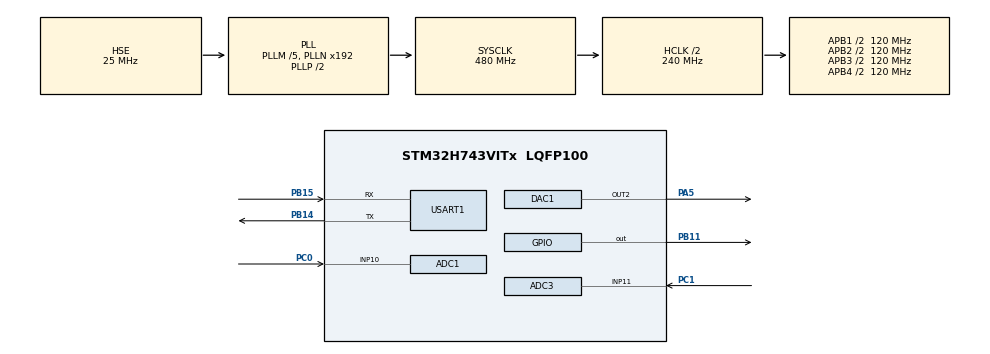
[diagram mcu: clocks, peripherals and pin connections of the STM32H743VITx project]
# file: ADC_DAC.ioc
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ADC1.Channel-1\#ChannelRegularConversion=ADC_CHANNEL_10
ADC1.ClockPrescaler=ADC_CLOCK_ASYNC_DIV1
ADC1.ConversionDataManagement=ADC_CONVERSIONDATA_DMA_CIRCULAR
ADC1.ExternalTrigConv=ADC_EXTERNALTRIG_T15_TRGO
ADC1.NbrOfConversion=1
ADC1.NbrOfConversionFlag=1
ADC1.OffsetNumber-1\#ChannelRegularConversion=ADC_OFFSET_NONE
ADC1.OffsetSignedSaturation-1\#ChannelRegularConversion=DISABLE
ADC1.Rank-1\#ChannelRegularConversion=1
ADC1.SamplingTime-1\#ChannelRegularConversion=ADC_SAMPLETIME_1CYCLE_5
ADC1.master=1
ADC3.Channel-0\#ChannelRegularConversion=ADC_CHANNEL_11
ADC3.ConversionDataManagement=ADC_CONVERSIONDATA_DMA_CIRCULAR
ADC3.ExternalTrigConv=ADC_EXTERNALTRIG_T1_TRGO
ADC3.NbrOfConversionFlag=1
ADC3.OffsetNumber-0\#ChannelRegularConversion=ADC_OFFSET_NONE
ADC3.OffsetSignedSaturation-0\#ChannelRegularConversion=DISABLE
ADC3.Rank-0\#ChannelRegularConversion=1
ADC3.SamplingTime-0\#ChannelRegularConversion=ADC_SAMPLETIME_1CYCLE_5
CORTEX_M7.AccessPermission-Cortex_Memory_Protection_Unit_Region0_Settings=MPU_REGION_FULL_ACCESS
CORTEX_M7.AccessPermission-Cortex_Memory_Protection_Unit_Region1_Settings=MPU_REGION_FULL_ACCESS
CORTEX_M7.AccessPermission-Cortex_Memory_Protection_Unit_Region2_Settings=MPU_REGION_FULL_ACCESS
CORTEX_M7.AccessPermission-Cortex_Memory_Protection_Unit_Region3_Settings=MPU_REGION_FULL_ACCESS
CORTEX_M7.AccessPermission-Cortex_Memory_Protection_Unit_Region4_Settings=MPU_REGION_FULL_ACCESS
CORTEX_M7.AccessPermission_S-Cortex_Memory_Protection_Unit_Region1_Settings_S=MPU_REGION_FULL_ACCESS
CORTEX_M7.AccessPermission_S-Cortex_Memory_Protection_Unit_Region2_Settings_S=MPU_REGION_FULL_ACCESS
CORTEX_M7.AccessPermission_Spec=MPU_REGION_FULL_ACCESS
CORTEX_M7.BaseAddress-Cortex_Memory_Protection_Unit_Region0_Settings=0x24000000
CORTEX_M7.BaseAddress-Cortex_Memory_Protection_Unit_Region1_Settings=0x30000000
CORTEX_M7.BaseAddress-Cortex_Memory_Protection_Unit_Region2_Settings=0x30020000
CORTEX_M7.BaseAddress-Cortex_Memory_Protection_Unit_Region3_Settings=0x30040000
CORTEX_M7.BaseAddress-Cortex_Memory_Protection_Unit_Region4_Settings=0x38000000
CORTEX_M7.BaseAddress_S-Cortex_Memory_Protection_Unit_Region1_Settings_S=0x30000000
CORTEX_M7.BaseAddress_S-Cortex_Memory_Protection_Unit_Region2_Settings_S=0x30020000
CORTEX_M7.BaseAddress_Spec=0x24000000
CORTEX_M7.CPU_DCache=Enabled
CORTEX_M7.CPU_ICache=Enabled
CORTEX_M7.DisableExec_S-Cortex_Memory_Protection_Unit_Region1_Settings_S=MPU_INSTRUCTION_ACCESS_ENABLE
CORTEX_M7.DisableExec_S-Cortex_Memory_Protection_Unit_Region2_Settings_S=MPU_INSTRUCTION_ACCESS_ENABLE
CORTEX_M7.DisableExec_Spec=MPU_INSTRUCTION_ACCESS_ENABLE
CORTEX_M7.Enable-Cortex_Memory_Protection_Unit_Region0_Settings=MPU_REGION_ENABLE
CORTEX_M7.Enable-Cortex_Memory_Protection_Unit_Region1_Settings=MPU_REGION_ENABLE
CORTEX_M7.Enable-Cortex_Memory_Protection_Unit_Region2_Settings=MPU_REGION_ENABLE
CORTEX_M7.Enable-Cortex_Memory_Protection_Unit_Region3_Settings=MPU_REGION_ENABLE
CORTEX_M7.Enable-Cortex_Memory_Protection_Unit_Region4_Settings=MPU_REGION_ENABLE
CORTEX_M7.Enable_S-Cortex_Memory_Protection_Unit_Region1_Settings_S=MPU_REGION_ENABLE
CORTEX_M7.Enable_S-Cortex_Memory_Protection_Unit_Region2_Settings_S=MPU_REGION_ENABLE
CORTEX_M7.IsBufferable-Cortex_Memory_Protection_Unit_Region0_Settings=MPU_ACCESS_BUFFERABLE
CORTEX_M7.IsBufferable_S-Cortex_Memory_Protection_Unit_Region1_Settings_S=MPU_ACCESS_NOT_BUFFERABLE
CORTEX_M7.IsBufferable_Spec=MPU_ACCESS_BUFFERABLE
CORTEX_M7.IsCacheable-Cortex_Memory_Protection_Unit_Region0_Settings=MPU_ACCESS_CACHEABLE
CORTEX_M7.IsCacheable_S-Cortex_Memory_Protection_Unit_Region1_Settings_S=MPU_ACCESS_NOT_CACHEABLE
CORTEX_M7.IsCacheable_Spec=MPU_ACCESS_CACHEABLE
CORTEX_M7.IsShareable_Spec=MPU_ACCESS_NOT_SHAREABLE
CORTEX_M7.MPU_Control=MPU_PRIVILEGED_DEFAULT
CORTEX_M7.Size-Cortex_Memory_Protection_Unit_Region0_Settings=MPU_REGION_SIZE_512KB
CORTEX_M7.Size-Cortex_Memory_Protection_Unit_Region1_Settings=MPU_REGION_SIZE_128KB
CORTEX_M7.Size-Cortex_Memory_Protection_Unit_Region2_Settings=MPU_REGION_SIZE_128KB
CORTEX_M7.Size-Cortex_Memory_Protection_Unit_Region3_Settings=MPU_REGION_SIZE_32KB
CORTEX_M7.Size-Cortex_Memory_Protection_Unit_Region4_Settings=MPU_REGION_SIZE_64KB
CORTEX_M7.Size_S-Cortex_Memory_Protection_Unit_Region1_Settings_S=MPU_REGION_SIZE_128KB
CORTEX_M7.Size_S-Cortex_Memory_Protection_Unit_Region2_Settings_S=MPU_REGION_SIZE_128KB
CORTEX_M7.Size_Spec=MPU_REGION_SIZE_512KB
CORTEX_M7.SubRegionDisable_Spec=0x0
CORTEX_M7.TypeExtField-Cortex_Memory_Protection_Unit_Region0_Settings=MPU_TEX_LEVEL1
CORTEX_M7.TypeExtField-Cortex_Memory_Protection_Unit_Region1_Settings=MPU_TEX_LEVEL1
CORTEX_M7.TypeExtField-Cortex_Memory_Protection_Unit_Region2_Settings=MPU_TEX_LEVEL1
CORTEX_M7.TypeExtField-Cortex_Memory_Protection_Unit_Region3_Settings=MPU_TEX_LEVEL1
CORTEX_M7.TypeExtField-Cortex_Memory_Protection_Unit_Region4_Settings=MPU_TEX_LEVEL1
CORTEX_M7.TypeExtField_S-Cortex_Memory_Protection_Unit_Region1_Settings_S=MPU_TEX_LEVEL1
CORTEX_M7.TypeExtField_S-Cortex_Memory_Protection_Unit_Region2_Settings_S=MPU_TEX_LEVEL1
CORTEX_M7.TypeExtField_Spec=MPU_TEX_LEVEL1
DAC1.DAC2_OutputBuffer-DAC_OUT2=DAC_OUTPUTBUFFER_DISABLE
DAC1.DAC_Channel-DAC_OUT2=DAC_CHANNEL_2
DAC1.DAC_Trigger-DAC_OUT2=DAC_TRIGGER_T6_TRGO
Dma.ADC1.0.Direction=DMA_PERIPH_TO_MEMORY
Dma.ADC1.0.EventEnable=DISABLE
Dma.ADC1.0.FIFOMode=DMA_FIFOMODE_DISABLE
Dma.ADC1.0.Instance=DMA1_Stream1
Dma.ADC1.0.MemDataAlignment=DMA_MDATAALIGN_HALFWORD
Dma.ADC1.0.MemInc=DMA_MINC_ENABLE
Dma.ADC1.0.Mode=DMA_NORMAL
Dma.ADC1.0.PeriphDataAlignment=DMA_PDATAALIGN_HALFWORD
Dma.ADC1.0.PeriphInc=DMA_PINC_DISABLE
Dma.ADC1.0.Polarity=HAL_DMAMUX_REQ_GEN_RISING
Dma.ADC1.0.Priority=DMA_PRIORITY_HIGH
Dma.ADC1.0.RequestNumber=1
Dma.ADC1.0.SignalID=NONE
Dma.ADC1.0.SyncEnable=DISABLE
Dma.ADC1.0.SyncPolarity=HAL_DMAMUX_SYNC_NO_EVENT
Dma.ADC1.0.SyncRequestNumber=1
Dma.ADC1.0.SyncSignalID=NONE
Dma.ADC3.1.Direction=DMA_PERIPH_TO_MEMORY
Dma.ADC3.1.EventEnable=DISABLE
Dma.ADC3.1.FIFOMode=DMA_FIFOMODE_DISABLE
Dma.ADC3.1.Instance=DMA2_Stream1
Dma.ADC3.1.MemDataAlignment=DMA_MDATAALIGN_HALFWORD
Dma.ADC3.1.MemInc=DMA_MINC_ENABLE
Dma.ADC3.1.Mode=DMA_NORMAL
Dma.ADC3.1.PeriphDataAlignment=DMA_PDATAALIGN_HALFWORD
Dma.ADC3.1.PeriphInc=DMA_PINC_DISABLE
Dma.ADC3.1.Polarity=HAL_DMAMUX_REQ_GEN_RISING
Dma.ADC3.1.Priority=DMA_PRIORITY_HIGH
Dma.ADC3.1.RequestNumber=1
Dma.ADC3.1.SignalID=NONE
Dma.ADC3.1.SyncEnable=DISABLE
Dma.ADC3.1.SyncPolarity=HAL_DMAMUX_SYNC_NO_EVENT
Dma.ADC3.1.SyncRequestNumber=1
Dma.ADC3.1.SyncSignalID=NONE
Dma.DAC1_CH2.2.Direction=DMA_MEMORY_TO_PERIPH
Dma.DAC1_CH2.2.EventEnable=DISABLE
Dma.DAC1_CH2.2.FIFOMode=DMA_FIFOMODE_DISABLE
Dma.DAC1_CH2.2.Instance=DMA2_Stream3
Dma.DAC1_CH2.2.MemDataAlignment=DMA_MDATAALIGN_HALFWORD
Dma.DAC1_CH2.2.MemInc=DMA_MINC_ENABLE
Dma.DAC1_CH2.2.Mode=DMA_CIRCULAR
Dma.DAC1_CH2.2.PeriphDataAlignment=DMA_PDATAALIGN_HALFWORD
Dma.DAC1_CH2.2.PeriphInc=DMA_PINC_DISABLE
Dma.DAC1_CH2.2.Polarity=HAL_DMAMUX_REQ_GEN_RISING
Dma.DAC1_CH2.2.Priority=DMA_PRIORITY_VERY_HIGH
Dma.DAC1_CH2.2.RequestNumber=1
Dma.DAC1_CH2.2.SignalID=NONE
Dma.DAC1_CH2.2.SyncEnable=DISABLE
Dma.DAC1_CH2.2.SyncPolarity=HAL_DMAMUX_SYNC_NO_EVENT
Dma.DAC1_CH2.2.SyncRequestNumber=1
Dma.DAC1_CH2.2.SyncSignalID=NONE
Dma.Request0=ADC1
Dma.Request1=ADC3
Dma.Request2=DAC1_CH2
Mcu.Family=STM32H7
Mcu.Name=STM32H743VITx
Mcu.Package=LQFP100
NVIC.DMA1_Stream1_IRQn=true\:0\:0\:false\:false\:true\:false\:true\:true
NVIC.DMA2_Stream1_IRQn=true\:0\:0\:false\:false\:true\:false\:true\:true
NVIC.DMA2_Stream3_IRQn=true\:0\:0\:false\:false\:true\:false\:true\:true
NVIC.PriorityGroup=NVIC_PRIORITYGROUP_4
PA13\ (JTMS/SWDIO).Mode=Serial_Wire
PA13\ (JTMS/SWDIO).Signal=DEBUG_JTMS-SWDIO
PA14\ (JTCK/SWCLK).Mode=Serial_Wire
PA14\ (JTCK/SWCLK).Signal=DEBUG_JTCK-SWCLK
PA5.Signal=COMP_DAC12_group
PB11.GPIO_ModeDefaultOutputPP=GPIO_MODE_OUTPUT_PP
PB11.GPIO_PuPd=GPIO_PULLUP
PB11.GPIO_Speed=GPIO_SPEED_FREQ_LOW
PB11.PinState=GPIO_PIN_SET
PB11.Signal=GPIO_Output
PB14.Mode=Asynchronous
PB14.Signal=USART1_TX
PB15.Mode=Asynchronous
PB15.Signal=USART1_RX
PC0.Signal=ADCx_INP10
PC1.Signal=ADCx_INP11
PH0-OSC_IN\ (PH0).Mode=HSE-External-Oscillator
PH0-OSC_IN\ (PH0).Signal=RCC_OSC_IN
PH1-OSC_OUT\ (PH1).Mode=HSE-External-Oscillator
PH1-OSC_OUT\ (PH1).Signal=RCC_OSC_OUT
ProjectManager.HeapSize=0x200
ProjectManager.StackSize=0x400
ProjectManager.TargetToolchain=MDK-ARM V5.32
RCC.ADCFreq_Value=72000000
RCC.APB1Freq_Value=120000000
RCC.APB2Freq_Value=120000000
RCC.APB3Freq_Value=120000000
RCC.APB4Freq_Value=120000000
RCC.CortexFreq_Value=480000000
RCC.D1PPRE=RCC_APB3_DIV2
RCC.D2PPRE1=RCC_APB1_DIV2
RCC.D2PPRE2=RCC_APB2_DIV2
RCC.D3PPRE=RCC_APB4_DIV2
RCC.DIVM1=5
RCC.DIVM2=25
RCC.DIVN1=192
RCC.DIVN2=360
RCC.DIVP2=5
RCC.HCLKFreq_Value=240000000
RCC.HPRE=RCC_HCLK_DIV2
RCC.HSE_Timout=5000
RCC.PLLSourceVirtual=RCC_PLLSOURCE_HSE
RCC.ProductRev=revV
RCC.SYSCLKFreq_VALUE=480000000
RCC.SYSCLKSource=RCC_SYSCLKSOURCE_PLLCLK
RCC.USBFreq_Value=480000000
SH.ADCx_INP10.0=ADC2_INP10
SH.ADCx_INP10.1=ADC1_INP10,IN10-Single-Ended
SH.ADCx_INP11.0=ADC3_INP11,IN11-Single-Ended
SH.COMP_DAC12_group.0=DAC1_OUT2,DAC_OUT2
TIM1.Period=16-1
TIM1.Prescaler=50-1
TIM1.TIM_MasterOutputTrigger=TIM_TRGO_UPDATE
TIM15.Period=16-1
TIM15.Prescaler=50-1
TIM15.TIM_MasterOutputTrigger=TIM_TRGO_UPDATE
TIM6.AutoReloadPreload=TIM_AUTORELOAD_PRELOAD_ENABLE
TIM6.Period=200-1
TIM6.Prescaler=12-1
TIM6.TIM_MasterOutputTrigger=TIM_TRGO_UPDATE
TIM7.Prescaler=239
USART1.VirtualMode-Asynchronous=VM_ASYNC
VP_TIM15_VS_ClockSourceINT.Mode=Internal
VP_TIM1_VS_ClockSourceINT.Mode=Internal
VP_TIM6_VS_ClockSourceINT.Mode=Enable_Timer
VP_TIM7_VS_ClockSourceINT.Mode=Enable_Timer
board=custom

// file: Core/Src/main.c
/* USER CODE BEGIN Header */
/**
  ******************************************************************************
  * @file           : main.c
  * @brief          : Main program body
  ******************************************************************************
  * @attention
  *
  * Copyright (c) 2022 STMicroelectronics.
  * All rights reserved.
  *
  * This software is licensed under terms that can be found in the LICENSE file
  * in the root directory of this software component.
  * If no LICENSE file comes with this software, it is provided AS-IS.
  *
  ******************************************************************************
  */
/* USER CODE END Header */
#include "main.h"
#include "adc.h"
#include "dac.h"
#include "dma.h"
#include "tim.h"
#include "usart.h"
#include "gpio.h"

/* USER CODE BEGIN Includes */

ALIGN_32BYTES (uint16_t Dat[80]) 	__attribute__((section(".ARM.__at_0x38000000")));

/* USER CODE END Includes */

/* USER CODE BEGIN PTD */
ALIGN_32BYTES (uint16_t adc1_data[FFT_LENGTH])  __attribute__((section(".ARM.__at_0x24000000")));
ALIGN_32BYTES (uint16_t adc3_data[FFT_LENGTH]) 	__attribute__((section(".ARM.__at_0x30000000")));
__IO uint8_t AdcConvEnd = 0;//表示adc采集完成

void adc_init(void)
{
	HAL_ADC_DeInit(&hadc1);
	MX_ADC1_Init();	//初始化调用放这里, 确保在MX_DMA_Init()初始化后面
	HAL_Delay(100);	//有地方说这里可以等等电压稳定后再校准

	if (HAL_ADCEx_Calibration_Start(&hadc1, ADC_CALIB_OFFSET, ADC_SINGLE_ENDED) != HAL_OK)
	{
			printf("hadc1 error with HAL_ADCEx_Calibration_Start\r\n");
			Error_Handler();
	}

	if (HAL_ADC_Start_DMA(&hadc1, (uint32_t *)adc1_data, ADC_BUFFER_SIZE) != HAL_OK)
	{
			printf("hadc1 error with HAL_ADC_Start_DMA\r\n");
			Error_Handler();
	}

	HAL_TIM_Base_Start(&htim15);
	while (!AdcConvEnd);
	AdcConvEnd = 0;
}

void adc3_init(void)
{
	HAL_ADC_DeInit(&hadc3);
	MX_ADC3_Init();	//初始化调用放这里, 确保在MX_DMA_Init()初始化后面
	HAL_Delay(100);	//有地方说这里可以等等电压稳定后再校准

	if (HAL_ADCEx_Calibration_Start(&hadc3, ADC_CALIB_OFFSET, ADC_SINGLE_ENDED) != HAL_OK)
	{
			printf("hadc1 error with HAL_ADCEx_Calibration_Start\r\n");
			Error_Handler();
	}

	if (HAL_ADC_Start_DMA(&hadc3, (uint32_t *)adc3_data, ADC_BUFFER_SIZE) != HAL_OK)
	{
			printf("hadc3 error with HAL_ADC_Start_DMA\r\n");
			Error_Handler();
	}

	HAL_TIM_Base_Start(&htim1);
	while (!AdcConvEnd);
	AdcConvEnd = 0;
}
/* USER CODE END PTD */

/* USER CODE BEGIN PM */

void SineWave()
{
    uint16_t i;
    for( i=0;i<80;i++)
    {
  		Dat[i]=(uint16_t)((int16_t)(2048*sin(i*2*3.14159/80))+2048);

    }
}
/* USER CODE END PM */

void SystemClock_Config(void);
void PeriphCommonClock_Config(void);
static void MPU_Config(void);

int main(void)
{

  /* MPU Configuration--------------------------------------------------------*/
  MPU_Config();

  /* Enable I-Cache---------------------------------------------------------*/
  SCB_EnableICache();

  /* Enable D-Cache---------------------------------------------------------*/
  SCB_EnableDCache();

  /* MCU Configuration--------------------------------------------------------*/

  /* Reset of all peripherals, Initializes the Flash interface and the Systick. */
  HAL_Init();

  /* Configure the system clock */
  SystemClock_Config();

/* Configure the peripherals common clocks */
  PeriphCommonClock_Config();

  /* Initialize all configured peripherals */
  MX_GPIO_Init();
  MX_DMA_Init();
  MX_TIM7_Init();
  MX_TIM6_Init();
  MX_ADC1_Init();
  MX_USART1_UART_Init();
  MX_DAC1_Init();
  MX_ADC3_Init();
  MX_TIM15_Init();
  MX_TIM1_Init();
  /* USER CODE BEGIN 2 */
  SineWave();//生成正弦数据
  HAL_DAC_Start_DMA(&hdac1,DAC_CHANNEL_2,(uint32_t *)Dat,80,DAC_ALIGN_12B_R);//开启DMA-DAC
  HAL_TIM_Base_Start(&htim6);//打开定时器6

  adc_init();
  adc3_init();

//  for (u16 temp = 0; temp< 10000;temp++)
//  {
//	printf("%d\r\n", adc1_data[temp]);
//  }
//
//  for (u16 temp = 0; temp< 10000;temp++)
//  {
//	printf("%d\r\n", adc3_data[temp]);
//  }

  /* USER CODE END 2 */

  /* Infinite loop */
  while (1)
  {

    /* USER CODE BEGIN 3 */
		adc_init();
		adc3_init();

		for (u16 temp = 0; temp< 10000;temp++)
		{
		printf("%d\r\n", adc1_data[temp]);
		}

		for (u16 temp = 0; temp< 10000;temp++)
		{
		printf("%d\r\n", adc3_data[temp]);
		}

  }
  /* USER CODE END 3 */
}

void SystemClock_Config(void)
{
  RCC_OscInitTypeDef RCC_OscInitStruct = {0};
  RCC_ClkInitTypeDef RCC_ClkInitStruct = {0};

  /** Supply configuration update enable
  */
  HAL_PWREx_ConfigSupply(PWR_LDO_SUPPLY);

  /** Configure the main internal regulator output voltage
  */
  __HAL_PWR_VOLTAGESCALING_CONFIG(PWR_REGULATOR_VOLTAGE_SCALE1);

  while(!__HAL_PWR_GET_FLAG(PWR_FLAG_VOSRDY)) {}

  __HAL_RCC_SYSCFG_CLK_ENABLE();
  __HAL_PWR_VOLTAGESCALING_CONFIG(PWR_REGULATOR_VOLTAGE_SCALE0);

  while(!__HAL_PWR_GET_FLAG(PWR_FLAG_VOSRDY)) {}

  /** Initializes the RCC Oscillators according to the specified parameters
  * in the RCC_OscInitTypeDef structure.
  */
  RCC_OscInitStruct.OscillatorType = RCC_OSCILLATORTYPE_HSE;
  RCC_OscInitStruct.HSEState = RCC_HSE_ON;
  RCC_OscInitStruct.PLL.PLLState = RCC_PLL_ON;
  RCC_OscInitStruct.PLL.PLLSource = RCC_PLLSOURCE_HSE;
  RCC_OscInitStruct.PLL.PLLM = 5;
  RCC_OscInitStruct.PLL.PLLN = 192;
  RCC_OscInitStruct.PLL.PLLP = 2;
  RCC_OscInitStruct.PLL.PLLQ = 2;
  RCC_OscInitStruct.PLL.PLLR = 2;
  RCC_OscInitStruct.PLL.PLLRGE = RCC_PLL1VCIRANGE_2;
  RCC_OscInitStruct.PLL.PLLVCOSEL = RCC_PLL1VCOWIDE;
  RCC_OscInitStruct.PLL.PLLFRACN = 0;
  if (HAL_RCC_OscConfig(&RCC_OscInitStruct) != HAL_OK)
  {
    Error_Handler();
  }

  /** Initializes the CPU, AHB and APB buses clocks
  */
  RCC_ClkInitStruct.ClockType = RCC_CLOCKTYPE_HCLK|RCC_CLOCKTYPE_SYSCLK
                              |RCC_CLOCKTYPE_PCLK1|RCC_CLOCKTYPE_PCLK2
                              |RCC_CLOCKTYPE_D3PCLK1|RCC_CLOCKTYPE_D1PCLK1;
  RCC_ClkInitStruct.SYSCLKSource = RCC_SYSCLKSOURCE_PLLCLK;
  RCC_ClkInitStruct.SYSCLKDivider = RCC_SYSCLK_DIV1;
  RCC_ClkInitStruct.AHBCLKDivider = RCC_HCLK_DIV2;
  RCC_ClkInitStruct.APB3CLKDivider = RCC_APB3_DIV2;
  RCC_ClkInitStruct.APB1CLKDivider = RCC_APB1_DIV2;
  RCC_ClkInitStruct.APB2CLKDivider = RCC_APB2_DIV2;
  RCC_ClkInitStruct.APB4CLKDivider = RCC_APB4_DIV2;

  if (HAL_RCC_ClockConfig(&RCC_ClkInitStruct, FLASH_LATENCY_4) != HAL_OK)
  {
    Error_Handler();
  }
}

void PeriphCommonClock_Config(void)
{
  RCC_PeriphCLKInitTypeDef PeriphClkInitStruct = {0};

  /** Initializes the peripherals clock
  */
  PeriphClkInitStruct.PeriphClockSelection = RCC_PERIPHCLK_ADC;
  PeriphClkInitStruct.PLL2.PLL2M = 25;
  PeriphClkInitStruct.PLL2.PLL2N = 360;
  PeriphClkInitStruct.PLL2.PLL2P = 5;
  PeriphClkInitStruct.PLL2.PLL2Q = 2;
  PeriphClkInitStruct.PLL2.PLL2R = 2;
  PeriphClkInitStruct.PLL2.PLL2RGE = RCC_PLL2VCIRANGE_0;
  PeriphClkInitStruct.PLL2.PLL2VCOSEL = RCC_PLL2VCOWIDE;
  PeriphClkInitStruct.PLL2.PLL2FRACN = 0;
  PeriphClkInitStruct.AdcClockSelection = RCC_ADCCLKSOURCE_PLL2;
  if (HAL_RCCEx_PeriphCLKConfig(&PeriphClkInitStruct) != HAL_OK)
  {
    Error_Handler();
  }
}

/* USER CODE BEGIN 4 */
void HAL_ADC_ConvCpltCallback(ADC_HandleTypeDef* hadc)
{
   if(hadc->Instance == ADC1)
	{
      //SCB_InvalidateDCache_by_Addr((uint32_t *) &adc1_data[0], ADC1_BUFFER_SIZE);
   }
	 AdcConvEnd = 1;
}

/* USER CODE END 4 */

/* MPU Configuration */

void MPU_Config(void)
{
  MPU_Region_InitTypeDef MPU_InitStruct = {0};

  /* Disables the MPU */
  HAL_MPU_Disable();

  /** Initializes and configures the Region and the memory to be protected
  */
  MPU_InitStruct.Enable = MPU_REGION_ENABLE;
  MPU_InitStruct.Number = MPU_REGION_NUMBER0;
  MPU_InitStruct.BaseAddress = 0x24000000;
  MPU_InitStruct.Size = MPU_REGION_SIZE_512KB;
  MPU_InitStruct.SubRegionDisable = 0x0;
  MPU_InitStruct.TypeExtField = MPU_TEX_LEVEL1;
  MPU_InitStruct.AccessPermission = MPU_REGION_FULL_ACCESS;
  MPU_InitStruct.DisableExec = MPU_INSTRUCTION_ACCESS_ENABLE;
  MPU_InitStruct.IsShareable = MPU_ACCESS_NOT_SHAREABLE;
  MPU_InitStruct.IsCacheable = MPU_ACCESS_CACHEABLE;
  MPU_InitStruct.IsBufferable = MPU_ACCESS_BUFFERABLE;

  HAL_MPU_ConfigRegion(&MPU_InitStruct);

  /** Initializes and configures the Region and the memory to be protected
  */
  MPU_InitStruct.Number = MPU_REGION_NUMBER1;
  MPU_InitStruct.BaseAddress = 0x30000000;
  MPU_InitStruct.Size = MPU_REGION_SIZE_128KB;
  MPU_InitStruct.IsCacheable = MPU_ACCESS_NOT_CACHEABLE;
  MPU_InitStruct.IsBufferable = MPU_ACCESS_NOT_BUFFERABLE;

  HAL_MPU_ConfigRegion(&MPU_InitStruct);

  /** Initializes and configures the Region and the memory to be protected
  */
  MPU_InitStruct.Number = MPU_REGION_NUMBER2;
  MPU_InitStruct.BaseAddress = 0x30020000;

  HAL_MPU_ConfigRegion(&MPU_InitStruct);

  /** Initializes and configures the Region and the memory to be protected
  */
  MPU_InitStruct.Number = MPU_REGION_NUMBER3;
  MPU_InitStruct.BaseAddress = 0x30040000;
  MPU_InitStruct.Size = MPU_REGION_SIZE_32KB;

  HAL_MPU_ConfigRegion(&MPU_InitStruct);

  /** Initializes and configures the Region and the memory to be protected
  */
  MPU_InitStruct.Number = MPU_REGION_NUMBER4;
  MPU_InitStruct.BaseAddress = 0x38000000;
  MPU_InitStruct.Size = MPU_REGION_SIZE_64KB;

  HAL_MPU_ConfigRegion(&MPU_InitStruct);
  /* Enables the MPU */
  HAL_MPU_Enable(MPU_PRIVILEGED_DEFAULT);

}

void Error_Handler(void)
{
  __disable_irq();
  while (1)
  {
  }
}
